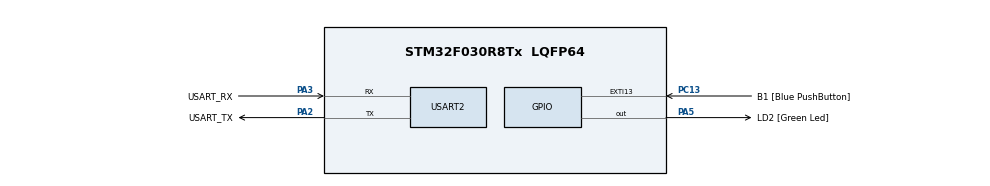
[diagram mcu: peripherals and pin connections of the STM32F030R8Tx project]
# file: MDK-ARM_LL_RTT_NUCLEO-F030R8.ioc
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Mcu.Family=STM32F0
Mcu.Name=STM32F030R8Tx
Mcu.Package=LQFP64
PA13.GPIO_Label=TMS
PA13.Mode=Serial_Wire
PA13.Signal=SYS_SWDIO
PA14.GPIO_Label=TCK
PA14.Mode=Serial_Wire
PA14.Signal=SYS_SWCLK
PA2.GPIO_Label=USART_TX
PA2.GPIO_Mode=GPIO_MODE_AF_PP
PA2.GPIO_PuPd=GPIO_NOPULL
PA2.GPIO_Speed=GPIO_SPEED_FREQ_LOW
PA2.Mode=Asynchronous
PA2.Signal=USART2_TX
PA3.GPIO_Label=USART_RX
PA3.GPIO_Mode=GPIO_MODE_AF_PP
PA3.GPIO_PuPd=GPIO_NOPULL
PA3.GPIO_Speed=GPIO_SPEED_FREQ_LOW
PA3.Mode=Asynchronous
PA3.Signal=USART2_RX
PA5.GPIO_Label=LD2 [Green Led]
PA5.GPIO_Mode=GPIO_MODE_OUTPUT_PP
PA5.GPIO_PuPd=GPIO_NOPULL
PA5.GPIO_Speed=GPIO_SPEED_FREQ_LOW
PA5.Signal=GPIO_Output
PC13.GPIO_Label=B1 [Blue PushButton]
PC13.GPIO_ModeDefaultEXTI=GPIO_MODE_IT_FALLING
PC13.Signal=GPXTI13
PC14-OSC32_IN.Mode=LSE-External-Oscillator
PC14-OSC32_IN.Signal=RCC_OSC32_IN
PC15-OSC32_OUT.Mode=LSE-External-Oscillator
PC15-OSC32_OUT.Signal=RCC_OSC32_OUT
PF0-OSC_IN.Mode=HSE-External-Clock-Source
PF0-OSC_IN.Signal=RCC_OSC_IN
PF1-OSC_OUT.Signal=RCC_OSC_OUT
ProjectManager.HeapSize=0x200
ProjectManager.StackSize=0x400
ProjectManager.TargetToolchain=MDK-ARM V5.27
RCC.AHBFreq_Value=48000000
RCC.APB1Freq_Value=48000000
RCC.APB1TimFreq_Value=48000000
RCC.HCLKFreq_Value=48000000
RCC.PLLMUL=RCC_PLL_MUL12
RCC.SYSCLKFreq_VALUE=48000000
RCC.SYSCLKSource=RCC_SYSCLKSOURCE_PLLCLK
USART2.VirtualMode-Asynchronous=VM_ASYNC
board=NUCLEO-F030R8

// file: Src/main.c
/* USER CODE BEGIN Header */
/**
  ******************************************************************************
  * @file           : main.c
  * @brief          : Main program body
  ******************************************************************************
  * @attention
  *
  * <h2><center>&copy; Copyright (c) 2020 STMicroelectronics.
  * All rights reserved.</center></h2>
  *
  * This software component is licensed by ST under BSD 3-Clause license,
  * the "License"; You may not use this file except in compliance with the
  * License. You may obtain a copy of the License at:
  *                        opensource.org/licenses/BSD-3-Clause
  *
  ******************************************************************************
  */
/* USER CODE END Header */

#include "main.h"

/* USER CODE BEGIN Includes */
#include "SEGGER_RTT.h"
#include "SEGGER_RTT_Conf.h"
#include "string.h"
#include "trice.h"
/* USER CODE END Includes */

void SystemClock_Config(void);
static void MX_GPIO_Init(void);
static void MX_USART2_UART_Init(void);

int main(void)
{

  /* MCU Configuration--------------------------------------------------------*/

  /* Reset of all peripherals, Initializes the Flash interface and the Systick. */

  LL_APB1_GRP2_EnableClock(LL_APB1_GRP2_PERIPH_SYSCFG);
  LL_APB1_GRP1_EnableClock(LL_APB1_GRP1_PERIPH_PWR);

  /* System interrupt init*/

  /* Configure the system clock */
  SystemClock_Config();

  /* USER CODE BEGIN SysInit */
    SysTick->CTRL |= SysTick_CTRL_TICKINT_Msk; // enable SysTick interrupt
  /* USER CODE END SysInit */

  /* Initialize all configured peripherals */
  MX_GPIO_Init();
  MX_USART2_UART_Init();

  /* Infinite loop */
  /* USER CODE BEGIN WHILE */
    TRICE16_1( Id(65439), "TIM:timing      message, SysTick is %6d\n", SYSTICKVAL16 );
    TRICE0( Id(24626), "att:MDK-ARM_LL_RTT_NUCLEO-F030R8\n" );
    TRICE16_1( Id(65439), "TIM:timing      message, SysTick is %6d\n", SYSTICKVAL16 );
    TRICE16_1( Id(65439), "TIM:timing      message, SysTick is %6d\n", SYSTICKVAL16 );
    TRICE16_1( Id(65439), "TIM:timing      message, SysTick is %6d\n", SYSTICKVAL16 );
    TRICE16_1( Id(65439), "TIM:timing      message, SysTick is %6d\n", SYSTICKVAL16 );
    SEGGER_RTT_GetAvailWriteSpace(0);
    char* s = "Hi5!\n";
    SEGGER_RTT_Write(0, s, strlen(s));
    while (1)
    {
      //////////////////////////////////////////////////
      // demo trices
      //
      static uint32_t ms_1 = 0;
      extern uint32_t ms;
      if( ms >= ms_1 + 1000 ){ // every sec
          static int index = 0;
          triceCheckSet(index++%20);
          TRICE32_1( Id(25382), "time:ms = %d\n", ms );
          LL_GPIO_TogglePin(LD2_GPIO_Port, LD2_Pin);
          ms_1 = ms;
      }
      //
      //////////////////////////////////////////////////

      //////////////////////////////////////////////////
      // no needed background activity
      //////////////////////////////////////////////////
    /* USER CODE END WHILE */

  }
}

void SystemClock_Config(void)
{
  LL_FLASH_SetLatency(LL_FLASH_LATENCY_1);

  if(LL_FLASH_GetLatency() != LL_FLASH_LATENCY_1)
  {
  Error_Handler();
  }
  LL_RCC_HSI_Enable();

   /* Wait till HSI is ready */
  while(LL_RCC_HSI_IsReady() != 1)
  {

  }
  LL_RCC_HSI_SetCalibTrimming(16);
  LL_RCC_PLL_ConfigDomain_SYS(LL_RCC_PLLSOURCE_HSI_DIV_2, LL_RCC_PLL_MUL_12);
  LL_RCC_PLL_Enable();

   /* Wait till PLL is ready */
  while(LL_RCC_PLL_IsReady() != 1)
  {

  }
  LL_RCC_SetAHBPrescaler(LL_RCC_SYSCLK_DIV_1);
  LL_RCC_SetAPB1Prescaler(LL_RCC_APB1_DIV_1);
  LL_RCC_SetSysClkSource(LL_RCC_SYS_CLKSOURCE_PLL);

   /* Wait till System clock is ready */
  while(LL_RCC_GetSysClkSource() != LL_RCC_SYS_CLKSOURCE_STATUS_PLL)
  {

  }
  LL_Init1msTick(48000000);
  LL_SetSystemCoreClock(48000000);
}

static void MX_USART2_UART_Init(void)
{

  LL_USART_InitTypeDef USART_InitStruct = {0};

  LL_GPIO_InitTypeDef GPIO_InitStruct = {0};

  /* Peripheral clock enable */
  LL_APB1_GRP1_EnableClock(LL_APB1_GRP1_PERIPH_USART2);

  LL_AHB1_GRP1_EnableClock(LL_AHB1_GRP1_PERIPH_GPIOA);
  /**USART2 GPIO Configuration
  PA2   ------> USART2_TX
  PA3   ------> USART2_RX
  */
  GPIO_InitStruct.Pin = USART_TX_Pin;
  GPIO_InitStruct.Mode = LL_GPIO_MODE_ALTERNATE;
  GPIO_InitStruct.Speed = LL_GPIO_SPEED_FREQ_LOW;
  GPIO_InitStruct.OutputType = LL_GPIO_OUTPUT_PUSHPULL;
  GPIO_InitStruct.Pull = LL_GPIO_PULL_NO;
  GPIO_InitStruct.Alternate = LL_GPIO_AF_1;
  LL_GPIO_Init(USART_TX_GPIO_Port, &GPIO_InitStruct);

  GPIO_InitStruct.Pin = USART_RX_Pin;
  GPIO_InitStruct.Mode = LL_GPIO_MODE_ALTERNATE;
  GPIO_InitStruct.Speed = LL_GPIO_SPEED_FREQ_LOW;
  GPIO_InitStruct.OutputType = LL_GPIO_OUTPUT_PUSHPULL;
  GPIO_InitStruct.Pull = LL_GPIO_PULL_NO;
  GPIO_InitStruct.Alternate = LL_GPIO_AF_1;
  LL_GPIO_Init(USART_RX_GPIO_Port, &GPIO_InitStruct);

  USART_InitStruct.BaudRate = 38400;
  USART_InitStruct.DataWidth = LL_USART_DATAWIDTH_8B;
  USART_InitStruct.StopBits = LL_USART_STOPBITS_1;
  USART_InitStruct.Parity = LL_USART_PARITY_NONE;
  USART_InitStruct.TransferDirection = LL_USART_DIRECTION_TX_RX;
  USART_InitStruct.HardwareFlowControl = LL_USART_HWCONTROL_NONE;
  USART_InitStruct.OverSampling = LL_USART_OVERSAMPLING_16;
  LL_USART_Init(USART2, &USART_InitStruct);
  LL_USART_DisableIT_CTS(USART2);
  LL_USART_ConfigAsyncMode(USART2);
  LL_USART_Enable(USART2);

}

static void MX_GPIO_Init(void)
{
  LL_EXTI_InitTypeDef EXTI_InitStruct = {0};
  LL_GPIO_InitTypeDef GPIO_InitStruct = {0};

  /* GPIO Ports Clock Enable */
  LL_AHB1_GRP1_EnableClock(LL_AHB1_GRP1_PERIPH_GPIOC);
  LL_AHB1_GRP1_EnableClock(LL_AHB1_GRP1_PERIPH_GPIOF);
  LL_AHB1_GRP1_EnableClock(LL_AHB1_GRP1_PERIPH_GPIOA);

  /**/
  LL_GPIO_ResetOutputPin(LD2_GPIO_Port, LD2_Pin);

  /**/
  LL_SYSCFG_SetEXTISource(LL_SYSCFG_EXTI_PORTC, LL_SYSCFG_EXTI_LINE13);

  /**/
  LL_GPIO_SetPinPull(B1_GPIO_Port, B1_Pin, LL_GPIO_PULL_NO);

  /**/
  LL_GPIO_SetPinMode(B1_GPIO_Port, B1_Pin, LL_GPIO_MODE_INPUT);

  /**/
  EXTI_InitStruct.Line_0_31 = LL_EXTI_LINE_13;
  EXTI_InitStruct.LineCommand = ENABLE;
  EXTI_InitStruct.Mode = LL_EXTI_MODE_IT;
  EXTI_InitStruct.Trigger = LL_EXTI_TRIGGER_FALLING;
  LL_EXTI_Init(&EXTI_InitStruct);

  /**/
  GPIO_InitStruct.Pin = LD2_Pin;
  GPIO_InitStruct.Mode = LL_GPIO_MODE_OUTPUT;
  GPIO_InitStruct.Speed = LL_GPIO_SPEED_FREQ_LOW;
  GPIO_InitStruct.OutputType = LL_GPIO_OUTPUT_PUSHPULL;
  GPIO_InitStruct.Pull = LL_GPIO_PULL_NO;
  LL_GPIO_Init(LD2_GPIO_Port, &GPIO_InitStruct);

}

void Error_Handler(void)
{
}

/************************ (C) COPYRIGHT STMicroelectronics *****END OF FILE****/
